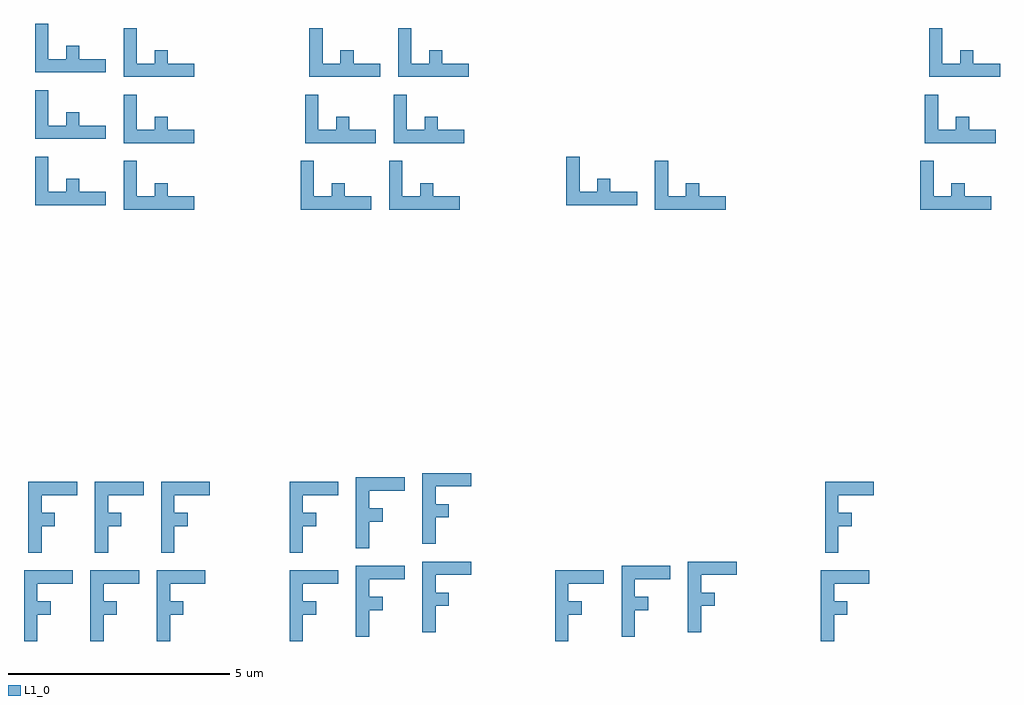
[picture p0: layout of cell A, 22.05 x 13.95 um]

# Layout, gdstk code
from math import pi, radians
import gdstk
lib = gdstk.Library(unit=1e-6, precision=5e-10)
def P(c, l, *ps):  # polygons
    for p in ps: c.add(gdstk.Polygon(p, *l))
L1_0 = (1, 0)

c_t = lib.new_cell('T')
P(c_t, L1_0, [(0,0),(0,1.6),(1.1,1.6),(1.1,1.3),(0.3,1.3),(0.3,0.9),(0.6,0.9),(0.6,0.6),(0.3,0.6),(0.3,0)])

c_a = lib.new_cell('A')
c_a.add(gdstk.Reference(c_t, (21.85,9.75), rotation=pi/2))
c_a.add(gdstk.Reference(c_t, (21.95,11.25), rotation=pi/2))
c_a.add(gdstk.Reference(c_t, (22.05,12.75), rotation=pi/2))
c_a.add(gdstk.Reference(c_t, (6,0)))
c_a.add(gdstk.Reference(c_t, (6,2)))
c_a.add(gdstk.Reference(c_t, (7.5,0.1)))
c_a.add(gdstk.Reference(c_t, (7.5,2.1)))
c_a.add(gdstk.Reference(c_t, (9,0.2)))
c_a.add(gdstk.Reference(c_t, (9,2.2)))
c_a.add(gdstk.Reference(c_t, (0,0)))
c_a.add(gdstk.Reference(c_t, (0.1,2)))
c_a.add(gdstk.Reference(c_t, (1.5,0)))
c_a.add(gdstk.Reference(c_t, (1.6,2)))
c_a.add(gdstk.Reference(c_t, (3,0)))
c_a.add(gdstk.Reference(c_t, (3.1,2)))
c_a.add(gdstk.Reference(c_t, (18,0)))
c_a.add(gdstk.Reference(c_t, (18.1,2)))
c_a.add(gdstk.Reference(c_t, (3.85,9.75), rotation=pi/2))
c_a.add(gdstk.Reference(c_t, (1.85,9.85), rotation=pi/2))
c_a.add(gdstk.Reference(c_t, (3.85,11.25), rotation=pi/2))
c_a.add(gdstk.Reference(c_t, (1.85,11.35), rotation=pi/2))
c_a.add(gdstk.Reference(c_t, (3.85,12.75), rotation=pi/2))
c_a.add(gdstk.Reference(c_t, (1.85,12.85), rotation=pi/2))
c_a.add(gdstk.Reference(c_t, (15.85,9.75), rotation=pi/2))
c_a.add(gdstk.Reference(c_t, (13.85,9.85), rotation=pi/2))
c_a.add(gdstk.Reference(c_t, (9.85,9.75), rotation=pi/2))
c_a.add(gdstk.Reference(c_t, (7.85,9.75), rotation=pi/2))
c_a.add(gdstk.Reference(c_t, (9.95,11.25), rotation=pi/2))
c_a.add(gdstk.Reference(c_t, (7.95,11.25), rotation=pi/2))
c_a.add(gdstk.Reference(c_t, (10.05,12.75), rotation=pi/2))
c_a.add(gdstk.Reference(c_t, (8.05,12.75), rotation=pi/2))
c_a.add(gdstk.Reference(c_t, (12,0)))
c_a.add(gdstk.Reference(c_t, (13.5,0.1)))
c_a.add(gdstk.Reference(c_t, (15,0.2)))

lib.write_gds('A.gds')
